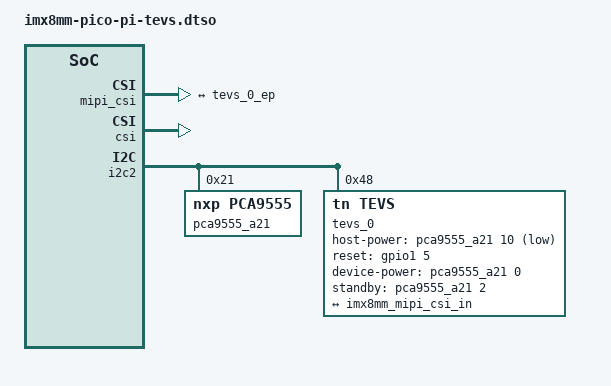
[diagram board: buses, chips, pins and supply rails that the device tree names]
// SPDX-License-Identifier: (GPL-2.0+ OR MIT)
/*
 * Copyright 2023 TechNexion Ltd.
 *
 * Author: Nian Yang <nian.yang@technexion.com>
 *
 */

/dts-v1/;
/plugin/;

#include <dt-bindings/interrupt-controller/irq.h>
#include <dt-bindings/clock/imx8mm-clock.h>
#include <dt-bindings/gpio/gpio.h>

&mipi_csi {
	status = "okay";

	ports {
		port@0 {
			imx8mm_mipi_csi_in: endpoint {
				remote-endpoint = <&tevs_0_ep>;
				data-lanes = <1 2>;
			};
		};
	};
};

&csi {
	status = "okay";
};

&i2c2 {
	#address-cells = <1>;
	#size-cells = <0>;
	status = "okay";

	pca9555_a21: pca9555@21 {
		compatible = "nxp,pca9555";
		reg = <0x21>;
		status = "okay";
		gpio-controller;
		#gpio-cells = <2>;
		gpio-line-names = "EXPOSURE_TRIG_IN1", "FLASH_OUT1", "INFO_TRIG_IN1", "CAM_SHUTTER1", "XVS1", "PWR1_TIME0", "PWR1_TIME1", "PWR1_TIME2",
							"EXPOSURE_TRIG_IN2", "FLASH_OUT2", "INFO_TRIG_IN2", "CAM_SHUTTER2", "XVS2", "PWR2_TIME0", "PWR2_TIME1", "PWR2_TIME2";
	};

	tevs_0: tevs@48 {
		compatible = "tn,tevs";
		reg = <0x48>;
		status = "okay";

		pinctrl-names = "default";
		pinctrl-0 = <&pinctrl_csi_rst>;
		host-power-gpios = <&pca9555_a21 10 GPIO_ACTIVE_LOW>;
		reset-gpios = <&gpio1 5 GPIO_ACTIVE_HIGH>;
		device-power-gpios = <&pca9555_a21 0 GPIO_ACTIVE_HIGH>;
		standby-gpios = <&pca9555_a21 2 GPIO_ACTIVE_HIGH>;

		supports-over-4k-res;

		port {
			tevs_0_ep: endpoint {
				remote-endpoint = <&imx8mm_mipi_csi_in>;
				data-lanes = <1 2>;
				clock-lanes = <0>;
				clock-noncontinuous;
				link-frequencies = /bits/ 64 <400000000>;
			};
		};
	};
};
